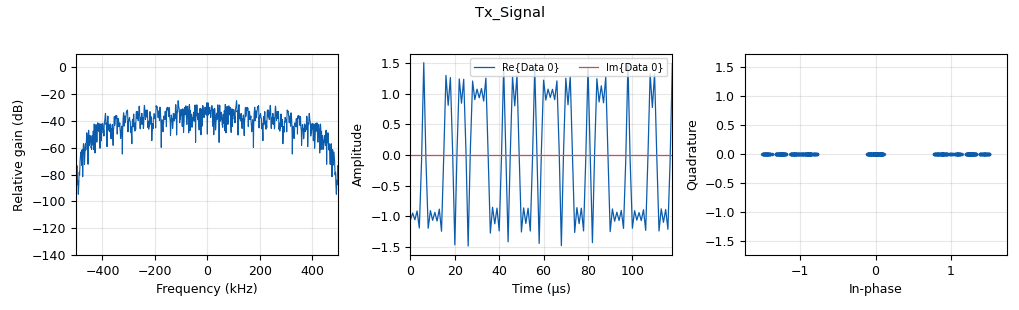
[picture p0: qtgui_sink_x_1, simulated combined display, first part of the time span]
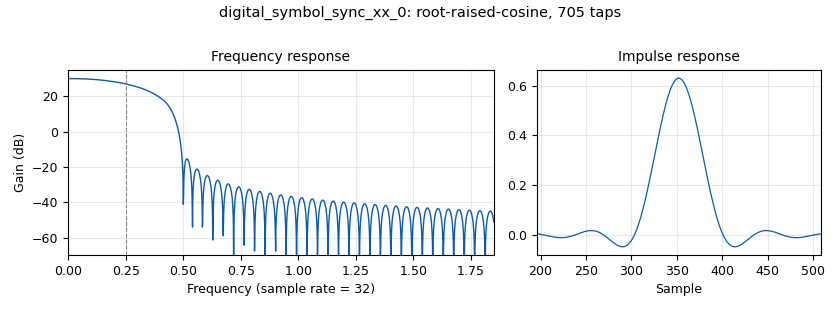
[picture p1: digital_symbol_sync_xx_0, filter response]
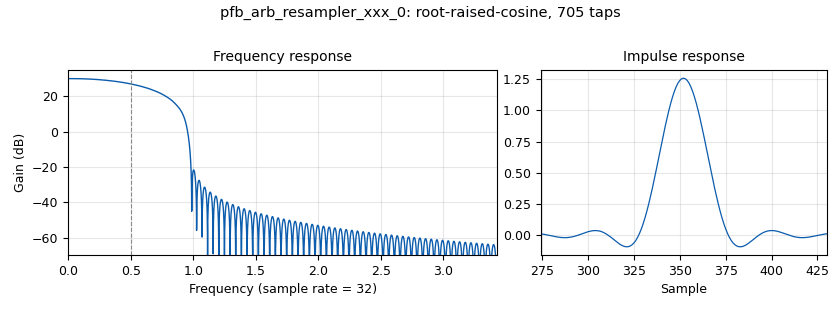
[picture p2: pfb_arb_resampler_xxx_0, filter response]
options:
  parameters:
    generate_options: qt_gui
    id: BPSK_USRP_TX_RX
    output_language: python
    title: BPSK_USRP_TX_RX
  states: {}

blocks:
- name: arity
  id: variable
  parameters:
    value: '2'
  states: {}
- name: d
  id: variable
  parameters:
    value: 1/(2**(1/2))
  states: {}
- name: delay
  id: variable_qtgui_range
  parameters:
    gui_hint: 'controls@0: 0,1,1,1'
    label: Delay
    rangeType: int
    start: '0'
    step: '1'
    stop: '200'
    value: '29'
  states: {}
- name: eq_gain
  id: variable_qtgui_range
  parameters:
    gui_hint: 'controls@1: 1,0,1,1'
    label: 'Equalizer: rate'
    start: '0.0'
    step: '0.0001'
    stop: '0.001'
    value: '0.000001'
  states: {}
- name: excess_bw
  id: variable
  parameters:
    value: '0.95'
  states: {}
- name: freq
  id: variable
  parameters:
    value: 800e6
  states: {}
- name: freq_offset
  id: variable_qtgui_range
  parameters:
    gui_hint: 'controls@0: 1,1,1,1'
    label: Frequency Offset
    start: '-0.1'
    step: '0.001'
    stop: '0.1'
    value: '0'
  states: {}
- name: gain_rx
  id: variable_qtgui_range
  parameters:
    gui_hint: 'controls@1: 0,0,1,1'
    label: gain_rx
    start: '0'
    step: '1'
    stop: '74'
    value: '30'
  states: {}
- name: gain_tx
  id: variable_qtgui_range
  parameters:
    gui_hint: 'controls@0: 0,0,1,1'
    label: gain_tx
    start: '0'
    step: '1'
    stop: '74'
    value: '30'
  states: {}
- name: nfilts
  id: variable
  parameters:
    value: '32'
  states: {}
- name: noise_volt
  id: variable_qtgui_range
  parameters:
    gui_hint: 'controls@0: 1,0,1,1'
    label: Noise Voltage
    start: '0'
    step: '0.01'
    stop: '2'
    value: '0'
  states: {}
- name: phase_bw
  id: variable_qtgui_range
  parameters:
    gui_hint: 'controls@1: 1,1,1,1'
    label: 'Phase: Bandwidth'
    start: '0.0'
    step: '0.01'
    stop: '0.1'
    value: 6.28/200
  states: {}
- name: qpsk_gray
  id: variable_constellation_rect
  parameters:
    const_points: '[d+d*1j, -d+d*1j,d-d*1j, -d-d*1j]'
    imag_sect: '2'
    real_sect: '2'
    rot_sym: '4'
    sym_map: '[0, 1, 2, 3]'
    w_imag_sect: '1'
    w_real_sect: '1'
  states: {}
- name: rrc_taps
  id: variable
  parameters:
    value: firdes.root_raised_cosine(nfilts, nfilts, 1.0/float(sps), excess_bw, 11*sps*nfilts)
  states: {}
- name: rrc_taps_tx
  id: variable
  parameters:
    value: firdes.root_raised_cosine(nfilts, nfilts, 1.0, excess_bw, 11*sps*nfilts)
  states: {}
- name: samp_rate
  id: variable
  parameters:
    value: 1e6
  states: {}
- name: sps
  id: variable
  parameters:
    value: '2'
  states: {}
- name: taps
  id: variable
  parameters:
    value: '[0.85,0,0,0.526]'
  states: {}
- name: timing_loop_bw
  id: variable_qtgui_range
  parameters:
    gui_hint: 'controls@1: 0,1,1,1'
    label: timing_loop_bw
    start: '0.0'
    step: '0.001'
    stop: '0.1'
    value: 6.28/200
  states: {}
- name: TFMv1_energy_scale_0
  id: TFMv1_energy_scale
  parameters:
    eav: '1'
    init_scale: '1'
    length: 1e6
  states: {}
- name: analog_random_source_x_0
  id: analog_random_source_x
  parameters:
    max: '256'
    min: '0'
    num_samps: '10000000'
    repeat: 'True'
    type: byte
  states: {}
- name: blocks_char_to_float_0_0
  id: blocks_char_to_float
  parameters:
    scale: '1'
  states: {}
- name: blocks_char_to_float_0_0_0
  id: blocks_char_to_float
  parameters:
    scale: '1'
  states: {}
- name: blocks_complex_to_mag_squared_0
  id: blocks_complex_to_mag_squared
  parameters: {}
  states: {}
- name: blocks_delay_0
  id: blocks_delay
  parameters:
    delay: delay
    type: byte
  states: {}
- name: blocks_moving_average_xx_0
  id: blocks_moving_average_xx
  parameters:
    length: '10000'
    max_iter: '4000'
    scale: '0.0001'
    type: float
  states: {}
- name: blocks_multiply_const_vxx_0
  id: blocks_multiply_const_vxx
  parameters:
    const: '0.5'
    type: complex
  states: {}
- name: blocks_packed_to_unpacked_xx_0
  id: blocks_packed_to_unpacked_xx
  parameters:
    bits_per_chunk: '1'
    endianness: gr.GR_MSB_FIRST
    type: byte
  states: {}
- name: blocks_unpack_k_bits_bb_0
  id: blocks_unpack_k_bits_bb
  parameters:
    k: '1'
  states: {}
- name: blocks_unpack_k_bits_bb_0_0
  id: blocks_unpack_k_bits_bb
  parameters:
    k: '8'
  states: {}
- name: channels_channel_model_0
  id: channels_channel_model
  parameters:
    epsilon: '1'
    freq_offset: freq_offset
    noise_voltage: noise_volt
    seed: '0'
    taps: '1'
  states: {}
- name: controls
  id: qtgui_tab_widget
  parameters:
    gui_hint: 0,0,1,2
    label0: TX
    label1: RX
    num_tabs: '2'
  states: {}
- name: digital_chunks_to_symbols_xx_0
  id: digital_chunks_to_symbols_xx
  parameters:
    dimension: '1'
    in_type: byte
    out_type: complex
    symbol_table: digital.constellation_bpsk().points()
  states: {}
- name: digital_cma_equalizer_cc_0_0
  id: digital_cma_equalizer_cc
  parameters:
    modulus: '1'
    mu: '1e-6'
    num_taps: '15'
    sps: '2'
  states: {}
- name: digital_constellation_decoder_cb_0
  id: digital_constellation_decoder_cb
  parameters:
    constellation: qpsk_gray.base()
  states: {}
- name: digital_costas_loop_cc_0
  id: digital_costas_loop_cc
  parameters:
    order: arity
    w: phase_bw
  states: {}
- name: digital_diff_decoder_bb_0_0
  id: digital_diff_decoder_bb
  parameters:
    modulus: '4'
  states: {}
- name: digital_diff_encoder_bb_0
  id: digital_diff_encoder_bb
  parameters:
    modulus: '2'
  states: {}
- name: digital_lms_dd_equalizer_cc_2
  id: digital_lms_dd_equalizer_cc
  parameters:
    cnst: digital.constellation_bpsk().base()
    mu: eq_gain*10
    num_taps: '15'
    sps: '2'
  states: {state: disabled}
- name: digital_pfb_clock_sync_xxx_0
  id: digital_pfb_clock_sync_xxx
  parameters:
    filter_size: nfilts
    init_phase: nfilts/2
    loop_bw: timing_loop_bw
    max_dev: '1.5'
    osps: '2'
    sps: sps
    taps: rrc_taps
    type: ccf
  states: {state: disabled}
- name: digital_symbol_sync_xx_0
  id: digital_symbol_sync_xx
  parameters:
    damping: '1.0'
    loop_bw: timing_loop_bw
    max_dev: '1.5'
    nfilters: nfilts
    osps: '2'
    pfb_mf_taps: rrc_taps
    resamp_type: digital.IR_PFB_MF
    sps: sps
    ted_gain: '1.0'
    ted_type: digital.TED_SIGNAL_TIMES_SLOPE_ML
    type: cc
  states: {}
- name: pfb_arb_resampler_xxx_0
  id: pfb_arb_resampler_xxx
  parameters:
    atten: '100'
    nfilts: nfilts
    rrate: sps
    taps: rrc_taps_tx
    type: ccf
  states: {}
- name: qtgui_const_sink_x_0
  id: qtgui_const_sink_x
  parameters:
    grid: 'True'
    gui_hint: 2,0,1,1
    name: '"RX_Constellation"'
    size: '1024'
    type: complex
  states: {}
- name: qtgui_number_sink_0
  id: qtgui_number_sink
  parameters:
    graph_type: qtgui.NUM_GRAPH_HORIZ
    type: float
  states: {}
- name: qtgui_sink_x_1
  id: qtgui_sink_x
  parameters:
    bw: samp_rate
    fc: '0'
    fftsize: '1024'
    gui_hint: 1,0,1,1
    name: '"Tx_Signal"'
    showports: 'True'
    type: complex
  states: {}
- name: qtgui_sink_x_1_0
  id: qtgui_sink_x
  parameters:
    bw: samp_rate
    fc: '0'
    fftsize: '1024'
    gui_hint: 1,1,1,1
    name: '"Rx_Signal"'
    showports: 'True'
    type: complex
  states: {}
- name: qtgui_time_sink_x_0
  id: qtgui_time_sink_x
  parameters:
    grid: 'True'
    gui_hint: 2,1,1,1
    label1: RX
    label2: TX
    name: '"TX_vs_RX_Bits"'
    nconnections: '2'
    size: '512'
    srate: samp_rate
    type: float
    ymax: '1.5'
    ymin: '-0.5'
  states: {}
- name: uhd_usrp_sink_0
  id: uhd_usrp_sink
  parameters:
    ant0: '"TX/RX"'
    center_freq0: freq
    clock_rate: '0.0'
    dev_addr: '"serial=30F9A69"'
    dev_args: '""'
    gain0: gain_tx
    len_tag_name: ''
    samp_rate: samp_rate
    sync: sync
    type: fc32
  states: {}
- name: uhd_usrp_source_0
  id: uhd_usrp_source
  parameters:
    ant0: TX/RX
    center_freq0: freq
    clock_rate: '0.0'
    dc_offs_enb0: disabled
    dev_addr: '"serial=30F9A6B"'
    dev_args: '""'
    gain0: gain_rx
    iq_imbal_enb0: disabled
    samp_rate: samp_rate
    sync: none
    type: fc32
  states: {}

connections:
- [TFMv1_energy_scale_0, '0', blocks_complex_to_mag_squared_0, '0']
- [TFMv1_energy_scale_0, '0', digital_pfb_clock_sync_xxx_0, '0']
- [TFMv1_energy_scale_0, '0', digital_symbol_sync_xx_0, '0']
- [TFMv1_energy_scale_0, '0', qtgui_sink_x_1_0, '0']
- [analog_random_source_x_0, '0', blocks_packed_to_unpacked_xx_0, '0']
- [analog_random_source_x_0, '0', blocks_unpack_k_bits_bb_0_0, '0']
- [blocks_char_to_float_0_0, '0', qtgui_time_sink_x_0, '0']
- [blocks_char_to_float_0_0_0, '0', qtgui_time_sink_x_0, '1']
- [blocks_complex_to_mag_squared_0, '0', blocks_moving_average_xx_0, '0']
- [blocks_delay_0, '0', blocks_char_to_float_0_0_0, '0']
- [blocks_moving_average_xx_0, '0', qtgui_number_sink_0, '0']
- [blocks_multiply_const_vxx_0, '0', uhd_usrp_sink_0, '0']
- [blocks_packed_to_unpacked_xx_0, '0', digital_diff_encoder_bb_0, '0']
- [blocks_unpack_k_bits_bb_0, '0', blocks_char_to_float_0_0, '0']
- [blocks_unpack_k_bits_bb_0_0, '0', blocks_delay_0, '0']
- [channels_channel_model_0, '0', blocks_multiply_const_vxx_0, '0']
- [digital_chunks_to_symbols_xx_0, '0', pfb_arb_resampler_xxx_0, '0']
- [digital_cma_equalizer_cc_0_0, '0', digital_costas_loop_cc_0, '0']
- [digital_constellation_decoder_cb_0, '0', digital_diff_decoder_bb_0_0, '0']
- [digital_costas_loop_cc_0, '0', digital_constellation_decoder_cb_0, '0']
- [digital_costas_loop_cc_0, '0', qtgui_const_sink_x_0, '0']
- [digital_diff_decoder_bb_0_0, '0', blocks_unpack_k_bits_bb_0, '0']
- [digital_diff_encoder_bb_0, '0', digital_chunks_to_symbols_xx_0, '0']
- [digital_lms_dd_equalizer_cc_2, '0', digital_cma_equalizer_cc_0_0, '0']
- [digital_lms_dd_equalizer_cc_2, '0', digital_costas_loop_cc_0, '0']
- [digital_pfb_clock_sync_xxx_0, '0', digital_lms_dd_equalizer_cc_2, '0']
- [digital_symbol_sync_xx_0, '0', digital_cma_equalizer_cc_0_0, '0']
- [digital_symbol_sync_xx_0, '0', digital_lms_dd_equalizer_cc_2, '0']
- [pfb_arb_resampler_xxx_0, '0', channels_channel_model_0, '0']
- [pfb_arb_resampler_xxx_0, '0', qtgui_sink_x_1, '0']
- [uhd_usrp_source_0, '0', TFMv1_energy_scale_0, '0']

metadata:
  file_format: 1
